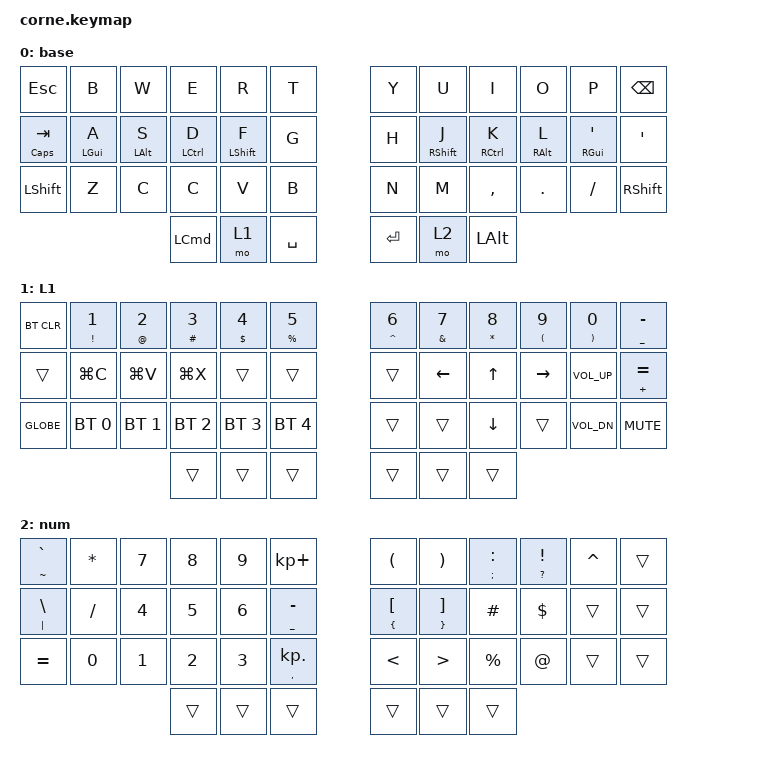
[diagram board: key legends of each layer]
/*
 * Copyright (c) 2020 The ZMK Contributors
 *
 * SPDX-License-Identifier: MIT
 */

#define ZMK_POINTING_DEFAULT_MOVE_VAL 1500  // default: 600
#define ZMK_POINTING_DEFAULT_SCRL_VAL 20    // default: 10

#include <behaviors.dtsi>
#include <dt-bindings/zmk/bt.h>
#include <dt-bindings/zmk/keys.h>

/ {
    combos {
        compatible = "zmk,combos";

        combo_game {
            bindings = <&tog 0>;
            key-positions = <36 41>;
            timeout-ms = <200>;
        };

        game_esc {
            bindings = <&kp ESC>;
            key-positions = <1 2>;
        };
    };

    behaviors {
        hml: hml {
            compatible = "zmk,behavior-hold-tap";
            label = "HML";
            bindings = <&kp>, <&kp>;

            #binding-cells = <2>;
            tapping-term-ms = <220>;
            quick-tap-ms = <175>;
            flavor = "balanced";
            require-prior-idle-ms = <100>;
            hold-trigger-key-positions = <39 40 41 30 18 6 7 9 10 11 18 19 20 21 22 23 30 31 32 33 34 35 40 41 8 36 37 38>;
            hold-trigger-on-release;
        };

        hmr: hmr {
            compatible = "zmk,behavior-hold-tap";
            label = "HMR";
            bindings = <&kp>, <&kp>;

            #binding-cells = <2>;
            tapping-term-ms = <220>;
            quick-tap-ms = <175>;
            require-prior-idle-ms = <100>;
            flavor = "balanced";
            hold-trigger-key-positions = <0 1 2 3 4 5 12 13 14 15 16 17 24 25 26 27 28 29 36 37 38 39 40 41>;
            hold-trigger-on-release;
        };

        tkl: tkl {
            compatible = "zmk,behavior-hold-tap";
            label = "TKL";
            bindings = <&mo>, <&kp>;

            #binding-cells = <2>;
            tapping-term-ms = <220>;
            quick-tap-ms = <175>;
            flavor = "balanced";
            require-prior-idle-ms = <100>;
            hold-trigger-key-positions = <39 40 41 30 18 6 7 9 10 11 18 19 20 21 22 23 30 31 32 33 34 35 40 41 8 38 37 36>;
            hold-trigger-on-release;
        };

        tkr: tkr {
            compatible = "zmk,behavior-hold-tap";
            label = "TKR";
            bindings = <&mo>, <&kp>;

            #binding-cells = <2>;
            tapping-term-ms = <220>;
            quick-tap-ms = <175>;
            require-prior-idle-ms = <100>;
            flavor = "balanced";
            hold-trigger-key-positions = <0 1 2 3 4 5 12 13 14 15 16 17 24 25 26 27 28 29 36 37 38 39 40 41>;
            hold-trigger-on-release;
        };
    };

    keymap {
        compatible = "zmk,keymap";

        base {
            // -----------------------------------------------------------------------------------------
            // |  TAB |  Q  |  W  |  E  |  R  |  T  |   |  Y  |  U   |  I  |  O  |  P  | BKSP |
            // | CTRL |  A  |  S  |  D  |  F  |  G  |   |  H  |  J   |  K  |  L  |  ;  |  '   |
            // | SHFT |  Z  |  X  |  C  |  V  |  B  |   |  N  |  M   |  ,  |  .  |  /  | ESC  |
            //                    | GUI | LWR | SPC |   | ENT | RSE  | ALT |

            bindings = <
&kp ESC           &kp B            &kp W            &kp E                &kp R              &kp T        &kp Y      &kp U               &kp I                 &kp O             &kp P               &kp BACKSPACE
&mt CAPSLOCK TAB  &hml LEFT_GUI A  &hml LEFT_ALT S  &hml LEFT_CONTROL D  &hml LEFT_SHIFT F  &kp G        &kp H      &hmr RIGHT_SHIFT J  &hmr RIGHT_CONTROL K  &hmr RIGHT_ALT L  &hmr RIGHT_GUI SQT  &kp SINGLE_QUOTE
&kp LEFT_SHIFT    &kp Z            &kp C            &kp C                &kp V              &kp B        &kp N      &kp M               &kp COMMA             &kp DOT           &kp FSLH            &kp RIGHT_SHIFT
                                                    &kp LEFT_COMMAND     &mo 1              &kp SPACE    &kp ENTER  &mo 2               &kp LEFT_ALT
            >;
        };

        L1 {
            bindings = <
&bt BT_CLR  &mt EXCLAMATION NUMBER_1  &mt AT_SIGN NUMBER_2  &mt POUND NUMBER_3  &mt DOLLAR NUMBER_4  &mt PERCENT NUMBER_5    &mt CARET NUMBER_6  &mt AMPERSAND NUMBER_7  &mt ASTERISK NUMBER_8  &mt LEFT_PARENTHESIS NUMBER_9  &mt RIGHT_PARENTHESIS NUMBER_0  &mt UNDERSCORE MINUS
&trans      &kp LG(C)                 &kp LG(V)             &kp LG(X)           &trans               &trans                  &trans              &kp LEFT_ARROW          &kp UP_ARROW           &kp RIGHT_ARROW                &kp C_VOLUME_UP                 &mt PLUS EQUAL
&kp GLOBE   &bt BT_SEL 0              &bt BT_SEL 1          &bt BT_SEL 2        &bt BT_SEL 3         &bt BT_SEL 4            &trans              &trans                  &kp DOWN_ARROW         &trans                         &kp C_VOL_DN                    &kp K_MUTE
                                                            &trans              &trans               &trans                  &trans              &trans                  &trans
            >;
        };

        num {
            bindings = <
&mt TILDE GRAVE  &kp ASTERISK  &kp N7  &kp N8  &kp N9  &kp KP_PLUS             &kp LEFT_PARENTHESIS         &kp RIGHT_PARENTHESIS          &mt SEMICOLON COLON  &mt QUESTION EXCLAMATION  &kp CARET  &trans
&mt PIPE BSLH    &kp SLASH     &kp N4  &kp N5  &kp N6  &mt UNDERSCORE MINUS    &mt LEFT_BRACE LEFT_BRACKET  &mt RIGHT_BRACE RIGHT_BRACKET  &kp HASH             &kp DOLLAR                &trans     &trans
&kp EQUAL        &kp NUMBER_0  &kp N1  &kp N2  &kp N3  &mt COMMA KP_DOT        &kp LESS_THAN                &kp GREATER_THAN               &kp PERCENT          &kp AT_SIGN               &trans     &trans
                                       &trans  &trans  &trans                  &trans                       &trans                         &trans
            >;
        };
    };
};
